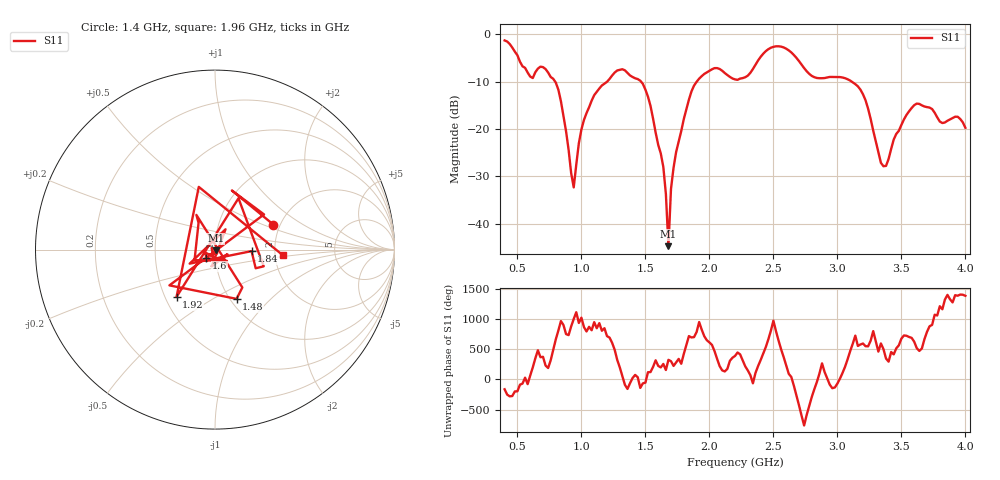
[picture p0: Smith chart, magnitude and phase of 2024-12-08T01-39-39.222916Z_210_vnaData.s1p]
!Created with skrf (http://scikit-rf.org).
# Hz S RI R 50.0
!freq ReS11 ImS11
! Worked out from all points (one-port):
!   181 points, 400 MHz to 4 GHz, reference 50 ohm
!   lowest |S11| = -44.7 dB at 1.68 GHz (marker M1), VSWR 1.01, Z = 50.5 - j0.343 ohm
!   |S11| at or under -10 dB: 794.4 MHz to 1.202 GHz (407.1 MHz wide, 40.8 % of centre); 1.466 GHz to 1.901 GHz (435.8 MHz wide, 25.9 % of centre); 3.111 GHz to end of sweep
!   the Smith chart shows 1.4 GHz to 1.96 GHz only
!   S11 on the Smith chart (normalised r, x): 1.4 GHz: 1.84, +0.59; 1.48 GHz: 1.07, -0.65; 1.6 GHz: 0.90, -0.09; 1.84 GHz: 1.51, -0.03; 1.92 GHz: 0.57, -0.34; 1.96 GHz: 2.21, -0.17
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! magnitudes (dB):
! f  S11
! 400 MHz  -1.3
! 600 MHz  -8.9
! 780 MHz  -9.4
! 860 MHz  -17.3
! 940 MHz  -32.3
! 980 MHz  -23.0
! 1.04 GHz  -16.6
! 1.3 GHz  -7.5
! 1.4 GHz  -9.0
! 1.48 GHz  -10.5
! 1.6 GHz  -23.3
! 1.64 GHz  -28.0
! 1.66 GHz  -33.7
! 1.68 GHz  -44.7
! 1.7 GHz  -32.6
! 1.76 GHz  -22.6
! 1.84 GHz  -13.8
! 1.92 GHz  -9.4
! 1.96 GHz  -8.4
! 2.2 GHz  -9.5
! 2.48 GHz  -2.9
! 2.66 GHz  -4.4
! 2.82 GHz  -9.1
! 3.1 GHz  -9.8
! 3.22 GHz  -13.9
! 3.36 GHz  -27.9
! 3.56 GHz  -16.3
! 4 GHz  -19.7
